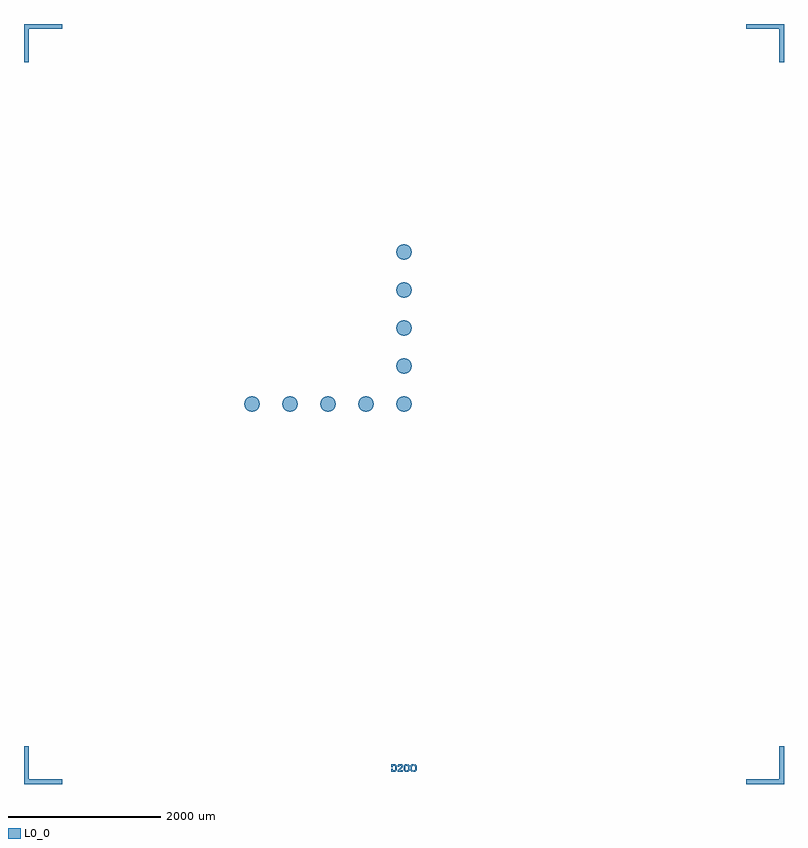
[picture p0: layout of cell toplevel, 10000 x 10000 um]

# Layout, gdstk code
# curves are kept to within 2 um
import gdstk
lib = gdstk.Library(unit=1e-6, precision=1e-09)
def P(c, l, *ps):  # polygons
    for p in ps: c.add(gdstk.Polygon(p, *l))
L0_0 = (0, 0)

circle = lib.new_cell('circle')
P(circle, L0_0, [(100,0),(92.388,38.268),(70.711,70.711),(38.268,92.388),(0,100),(-38.268,92.388),(-70.711,70.711),(-92.388,38.268),(-100,0),(-92.388,-38.268),(-70.711,-70.711),(-38.268,-92.388),(0,-100),(38.268,-92.388),(70.711,-70.711),(92.388,-38.268)])

circle001 = lib.new_cell('circle001')
P(circle001, L0_0, [(-400,0),(-407.612,38.268),(-429.289,70.711),(-461.732,92.388),(-500,100),(-538.268,92.388),(-570.711,70.711),(-592.388,38.268),(-600,0),(-592.388,-38.268),(-570.711,-70.711),(-538.268,-92.388),(-500,-100),(-461.732,-92.388),(-429.289,-70.711),(-407.612,-38.268)])

circle002 = lib.new_cell('circle002')
P(circle002, L0_0, [(-900,0),(-907.612,38.268),(-929.289,70.711),(-961.732,92.388),(-1000,100),(-1038.268,92.388),(-1070.711,70.711),(-1092.388,38.268),(-1100,0),(-1092.388,-38.268),(-1070.711,-70.711),(-1038.268,-92.388),(-1000,-100),(-961.732,-92.388),(-929.289,-70.711),(-907.612,-38.268)])

circle003 = lib.new_cell('circle003')
P(circle003, L0_0, [(-1400,0),(-1407.612,38.268),(-1429.289,70.711),(-1461.732,92.388),(-1500,100),(-1538.268,92.388),(-1570.711,70.711),(-1592.388,38.268),(-1600,0),(-1592.388,-38.268),(-1570.711,-70.711),(-1538.268,-92.388),(-1500,-100),(-1461.732,-92.388),(-1429.289,-70.711),(-1407.612,-38.268)])

circle004 = lib.new_cell('circle004')
P(circle004, L0_0, [(-1900,0),(-1907.612,38.268),(-1929.289,70.711),(-1961.732,92.388),(-2000,100),(-2038.268,92.388),(-2070.711,70.711),(-2092.388,38.268),(-2100,0),(-2092.388,-38.268),(-2070.711,-70.711),(-2038.268,-92.388),(-2000,-100),(-1961.732,-92.388),(-1929.289,-70.711),(-1907.612,-38.268)])

circle005 = lib.new_cell('circle005')
P(circle005, L0_0, [(100,500),(92.388,538.268),(70.711,570.711),(38.268,592.388),(0,600),(-38.268,592.388),(-70.711,570.711),(-92.388,538.268),(-100,500),(-92.388,461.732),(-70.711,429.289),(-38.268,407.612),(0,400),(38.268,407.612),(70.711,429.289),(92.388,461.732)])

circle006 = lib.new_cell('circle006')
P(circle006, L0_0, [(100,1000),(92.388,1038.268),(70.711,1070.711),(38.268,1092.388),(0,1100),(-38.268,1092.388),(-70.711,1070.711),(-92.388,1038.268),(-100,1000),(-92.388,961.732),(-70.711,929.289),(-38.268,907.612),(0,900),(38.268,907.612),(70.711,929.289),(92.388,961.732)])

circle007 = lib.new_cell('circle007')
P(circle007, L0_0, [(100,1500),(92.388,1538.268),(70.711,1570.711),(38.268,1592.388),(0,1600),(-38.268,1592.388),(-70.711,1570.711),(-92.388,1538.268),(-100,1500),(-92.388,1461.732),(-70.711,1429.289),(-38.268,1407.612),(0,1400),(38.268,1407.612),(70.711,1429.289),(92.388,1461.732)])

circle008 = lib.new_cell('circle008')
P(circle008, L0_0, [(100,2000),(92.388,2038.268),(70.711,2070.711),(38.268,2092.388),(0,2100),(-38.268,2092.388),(-70.711,2070.711),(-92.388,2038.268),(-100,2000),(-92.388,1961.732),(-70.711,1929.289),(-38.268,1907.612),(0,1900),(38.268,1907.612),(70.711,1929.289),(92.388,1961.732)])

text = lib.new_cell('text')
P(text, L0_0, [(10,0),(10,40),(30,40),(30,20),(50,20),(60,30),(60,70),(50,80),(30,80),(30,60),(10,60),(10,100),(60,100),(80,80),(80,20),(60,0)],
  [(90,90),(100,100),(150,100),(160,90),(160,60),(120,20),(160,20),(160,0),(90,0),(90,20),(140,70),(140,80),(110,80),(110,70),(90,70)],
  [(200,80),(190,70),(190,30),(200,20),(195,0),(190,0),(170,20),(170,80),(190,100),(213,100),(208,80),(200,80)],
  [(220,20),(230,30),(230,70),(220,80),(225,100),(230,100),(250,80),(250,20),(230,0),(207,0),(212,20),(220,20)],
  [(290,80),(280,70),(280,30),(290,20),(285,0),(280,0),(260,20),(260,80),(280,100),(303,100),(298,80),(290,80)],
  [(310,20),(320,30),(320,70),(310,80),(315,100),(320,100),(340,80),(340,20),(320,0),(297,0),(302,20),(310,20)])

die = lib.new_cell('die')
P(die, L0_0, [(5000,5000),(5000,4500),(4940,4500),(4940,4940),(4500,4940),(4500,5000)],
  [(-5000,5000),(-5000,4500),(-4940,4500),(-4940,4940),(-4500,4940),(-4500,5000)],
  [(5000,-5000),(5000,-4500),(4940,-4500),(4940,-4940),(4500,-4940),(4500,-5000)],
  [(-5000,-5000),(-5000,-4500),(-4940,-4500),(-4940,-4940),(-4500,-4940),(-4500,-5000)])
die.add(gdstk.Reference(text, (-175,-4840)))

toplevel = lib.new_cell('toplevel')
toplevel.add(gdstk.Reference(circle, (0,0)))
toplevel.add(gdstk.Reference(circle001, (0,0)))
toplevel.add(gdstk.Reference(circle002, (0,0)))
toplevel.add(gdstk.Reference(circle003, (0,0)))
toplevel.add(gdstk.Reference(circle004, (0,0)))
toplevel.add(gdstk.Reference(circle005, (0,0)))
toplevel.add(gdstk.Reference(circle006, (0,0)))
toplevel.add(gdstk.Reference(circle007, (0,0)))
toplevel.add(gdstk.Reference(circle008, (0,0)))
toplevel.add(gdstk.Reference(die, (0,0)))

lib.write_gds('toplevel.gds')
